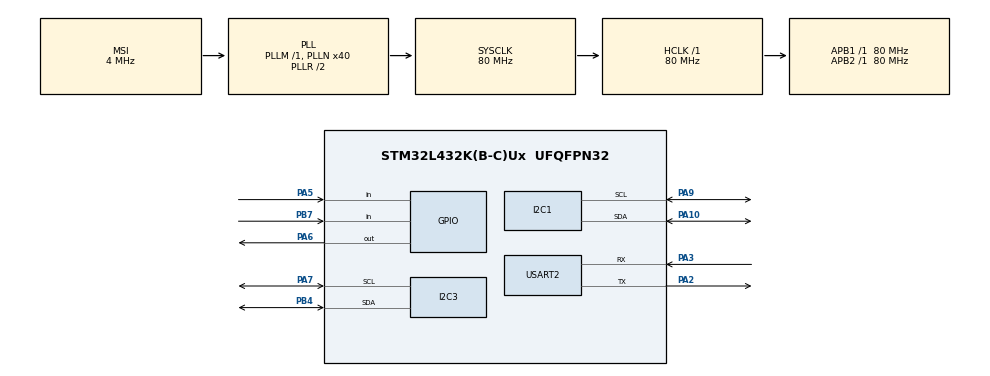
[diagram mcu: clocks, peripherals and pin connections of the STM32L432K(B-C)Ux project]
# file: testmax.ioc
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I2C1.Timing=0x10909CEC
I2C3.Timing=0x10909CEC
Mcu.Family=STM32L4
Mcu.Name=STM32L432K(B-C)Ux
Mcu.Package=UFQFPN32
NVIC.PriorityGroup=NVIC_PRIORITYGROUP_4
PA10.Mode=I2C
PA10.Signal=I2C1_SDA
PA13\ (JTMS-SWDIO).Mode=Serial_Wire
PA13\ (JTMS-SWDIO).Signal=SYS_JTMS-SWDIO
PA14\ (JTCK-SWCLK).Mode=Serial_Wire
PA14\ (JTCK-SWCLK).Signal=SYS_JTCK-SWCLK
PA2.Mode=Asynchronous
PA2.Signal=USART2_TX
PA3.Mode=Asynchronous
PA3.Signal=USART2_RX
PA5.Signal=GPIO_Input
PA6.Signal=GPIO_Output
PA7.Mode=I2C
PA7.Signal=I2C3_SCL
PA9.Mode=I2C
PA9.Signal=I2C1_SCL
PB4\ (NJTRST).Mode=I2C
PB4\ (NJTRST).Signal=I2C3_SDA
PB7.Signal=GPIO_Input
PC14-OSC32_IN\ (PC14).Mode=LSE-External-Oscillator
PC14-OSC32_IN\ (PC14).Signal=RCC_OSC32_IN
PC15-OSC32_OUT\ (PC15).Mode=LSE-External-Oscillator
PC15-OSC32_OUT\ (PC15).Signal=RCC_OSC32_OUT
ProjectManager.HeapSize=0x200
ProjectManager.StackSize=0x400
ProjectManager.TargetToolchain=MDK-ARM V5
RCC.AHBFreq_Value=80000000
RCC.APB1Freq_Value=80000000
RCC.APB1TimFreq_Value=80000000
RCC.APB2Freq_Value=80000000
RCC.APB2TimFreq_Value=80000000
RCC.CortexFreq_Value=80000000
RCC.HCLKFreq_Value=80000000
RCC.HSE_VALUE=8000000
RCC.HSI48_VALUE=48000000
RCC.HSI_VALUE=16000000
RCC.MSI_VALUE=4000000
RCC.PLLN=40
RCC.SYSCLKFreq_VALUE=80000000
RCC.SYSCLKSource=RCC_SYSCLKSOURCE_PLLCLK
RCC.VCOOutputFreq_Value=160000000
USART2.VirtualMode-Asynchronous=VM_ASYNC
board=custom

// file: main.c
/* USER CODE BEGIN Header */
/**
  ******************************************************************************
  * @file           : main.c
  * @brief          : Main program body
  ******************************************************************************
  * @attention
  *
  * <h2><center>&copy; Copyright (c) 2021 STMicroelectronics.
  * All rights reserved.</center></h2>
  *
  * This software component is licensed by ST under BSD 3-Clause license,
  * the "License"; You may not use this file except in compliance with the
  * License. You may obtain a copy of the License at:
  *                        opensource.org/licenses/BSD-3-Clause
  *
  ******************************************************************************
  */
/* USER CODE END Header */
#include "main.h"

/* USER CODE BEGIN Includes */
#include <stdlib.h>
#include <string.h>
#include <stdio.h>
#include "math.h"
#include "max30102.h"

int xyz  = 0;

/* USER CODE END Includes */

I2C_HandleTypeDef hi2c1;
I2C_HandleTypeDef hi2c3;

UART_HandleTypeDef huart2;

void SystemClock_Config(void);
static void MX_GPIO_Init(void);
static void MX_I2C1_Init(void);
static void MX_USART2_UART_Init(void);
static void MX_I2C3_Init(void);

/* USER CODE BEGIN 0 */
uint8_t fff[] = {'0','0','0'}; //array for heartrate
uint8_t a2f;
uint8_t status_reg[2], ctrl_reg[2];

uint8_t nl[] = {'\r', '\n', '\r'};
char hrt[12];

void displayuart()
{
	HAL_UART_Transmit(&huart2, (uint8_t *)hrt, 12, 1000);
	HAL_UART_Transmit(&huart2, fff, sizeof(fff), 1000);
	HAL_UART_Transmit(&huart2, nl, 3, 1000);
}

/* USER CODE END 0 */

int main(void)
{

  /* MCU Configuration--------------------------------------------------------*/

  /* Reset of all peripherals, Initializes the Flash interface and the Systick. */
  HAL_Init();

  /* Configure the system clock */
  SystemClock_Config();

  /* Initialize all configured peripherals */
  MX_GPIO_Init();
  MX_I2C1_Init();
  MX_USART2_UART_Init();
  MX_I2C3_Init();
  /* USER CODE BEGIN 2 */
	HAL_GPIO_WritePin(GPIOA, GPIO_PIN_6, GPIO_PIN_RESET);
  initialize();
  uint8_t secbuffer[2], minbuffer[2], hourbuffer[2], daybuffer[2], datebuffer[2];
  uint8_t h1,h2,m1,m2,s1,s2;
  char uartBuf [100] = {0};
  uint8_t alarm_minbuffer[2], alarm_hourbuffer[2], alarm_daybuffer[2], alarm_datebuffer[2];
  int count = 1;
  // seconds
  secbuffer[0] = 0x00; //register address
  secbuffer[1] = 0x00; //data to put in register --> 0 sec
  HAL_I2C_Master_Transmit(&hi2c3, 0xD0, secbuffer, 2, 10);
  // minutes
  minbuffer[0] = 0x01; //register address
  minbuffer[1] = 0x40; //data to put in register --> 15 min
  HAL_I2C_Master_Transmit(&hi2c3, 0xD0, minbuffer, 2, 10);

  // hours
  hourbuffer[0] = 0x02; //register address
  hourbuffer[1] = 0x11; //data to put in register 01001001 --> 7 am
  HAL_I2C_Master_Transmit(&hi2c3, 0xD0, hourbuffer, 2, 10);

  daybuffer[0] = 0x03;
	daybuffer[0] = 0x00;
	HAL_I2C_Master_Transmit(&hi2c3, 0xD0, daybuffer, 2, 10);

	datebuffer[0] = 0x04;
	datebuffer[0] = 0x00;
	HAL_I2C_Master_Transmit(&hi2c3, 0xD0, datebuffer, 2, 10);

	status_reg[0] = 0x0F;
	status_reg[1] = 0x88;
	HAL_I2C_Master_Transmit(&hi2c3, 0xD0, status_reg, 2, 10);
// control register
	ctrl_reg[0] = 0x0E;
	ctrl_reg[1] = 0x1E;
	HAL_I2C_Master_Transmit(&hi2c3, 0xD0, ctrl_reg, 2, 10);
// minutes
	alarm_minbuffer[0] = 0x0B;
	alarm_minbuffer[1] = 0x41;
	//alarm_minbuffer[1] += count;
	HAL_I2C_Master_Transmit(&hi2c3, 0xD0, alarm_minbuffer, 2, 10);
// hours
	alarm_hourbuffer[0] = 0x0C;
	alarm_hourbuffer[1] = 0x11;
	HAL_I2C_Master_Transmit(&hi2c3, 0xD0, alarm_hourbuffer, 2, 10);

	alarm_daybuffer[0] = 0x0D;
	alarm_daybuffer[1] = 0xC0;
	HAL_I2C_Master_Transmit(&hi2c3, 0xD0, alarm_daybuffer, 2, 10);

	alarm_datebuffer[0] = 0x0D;
	alarm_datebuffer[1] = 0x80;
	HAL_I2C_Master_Transmit(&hi2c3, 0xD0, alarm_datebuffer, 2, 10);

	int flag =0;

	uint8_t sos[] = {'S', 'O', 'S', '\n', '\r'};
	//uint8_t no[] = {'N', 'O', '\n', '\r'};
  /* USER CODE END 2 */

  /* Infinite loop */
  while (1)
  {

    /* USER CODE BEGIN 3 */
	  int count =1;
	  //int count2 =0;
		//HAL_GPIO_WritePin(GPIOA, GPIO_PIN_6, GPIO_PIN_RESET);

		if ((HAL_GPIO_ReadPin(GPIOB, GPIO_PIN_7) == 0) )
			{
				HAL_GPIO_WritePin(GPIOA, GPIO_PIN_6, GPIO_PIN_SET);
				//HAL_UART_Transmit(&huart2, no, 5, 100);
			}
		else
			{
				HAL_GPIO_WritePin(GPIOA, GPIO_PIN_6, GPIO_PIN_RESET);
				HAL_UART_Transmit(&huart2, sos, 4, 100);
			}
    if (flag ==0)
    {
      HAL_UART_Transmit(&huart2, (uint8_t *)uartBuf, sizeof(uartBuf), 10);
      flag =1;
    }

    HAL_I2C_Master_Transmit(&hi2c3, 0xD0, secbuffer, 1, 10);
    //read data of register 00h to secbuffer[1]
    HAL_I2C_Master_Receive(&hi2c3, 0xD1, secbuffer+1, 1, 10);
    //prepare UART output
    s1 = secbuffer[1] >> 4;
    s2 = secbuffer[1] & 0x0F;
    HAL_I2C_Master_Transmit(&hi2c3, 0xD0, minbuffer, 1, 10);
    HAL_I2C_Master_Receive(&hi2c3, 0xD1, minbuffer+1, 1, 10);
    m1 = minbuffer[1] >> 4;
    m2 = minbuffer[1] & 0x0F;
    HAL_I2C_Master_Transmit(&hi2c3, 0xD0, hourbuffer, 1, 10);
    HAL_I2C_Master_Receive(&hi2c3, 0xD1, hourbuffer+1, 1, 10);
    h1 = (hourbuffer[1] >> 4) & 1;
    h2 = hourbuffer[1] & 0x0F;

    // transmit time to UART
    sprintf(uartBuf, "%d%d:%d%d:%d%d\r\n",h1,h2,m1,m2,s1,s2);
    HAL_UART_Transmit(&huart2, (uint8_t *)uartBuf, sizeof(uartBuf), 10);
  //	HAL_UART_Transmit(&huart2, (uint8_t *)hrt, 12, 1000);
  //	HAL_UART_Transmit(&huart2, fff, sizeof(fff), 1000);
  //	HAL_UART_Transmit(&huart2, nl, 3, 1000);

      HAL_I2C_Master_Transmit(&hi2c3, 0xD0, &status_reg[0], 1, 10);
      HAL_I2C_Master_Receive(&hi2c3, 0xD1, &a2f, 1, 10);

      if (a2f & 0x02)
      {
        char myuartBuf [100] = {0};
        alarm_minbuffer[1] += count;
        HAL_I2C_Master_Transmit(&hi2c3, 0xD0, alarm_minbuffer, 2, 10);
        sprintf(myuartBuf, "Medication Reminder:%d%d:%d%d:%d%d\r\n",h1,h2,m1,m2,s1,s2);
        HAL_UART_Transmit(&huart2, (uint8_t *)myuartBuf, sizeof(myuartBuf), 10);

        HAL_I2C_Master_Transmit(&hi2c3, 0xD0, status_reg, 2, 10);

        xyz = read_sequential();
        fff[0] = xyz<100?0:xyz / 100 + 48;
        fff[1] = xyz<10?0:(xyz / 10) % 10 + 48;
        fff[2] = xyz % 10 + 48;
        sprintf(hrt, "Heart rate: ");
        displayuart();

	  	}

	  HAL_Delay(1000);

  }
  /* USER CODE END 3 */
}

void SystemClock_Config(void)
{
  RCC_OscInitTypeDef RCC_OscInitStruct = {0};
  RCC_ClkInitTypeDef RCC_ClkInitStruct = {0};

  /** Configure the main internal regulator output voltage
  */
  if (HAL_PWREx_ControlVoltageScaling(PWR_REGULATOR_VOLTAGE_SCALE1) != HAL_OK)
  {
    Error_Handler();
  }
  /** Configure LSE Drive Capability
  */
  HAL_PWR_EnableBkUpAccess();
  __HAL_RCC_LSEDRIVE_CONFIG(RCC_LSEDRIVE_LOW);
  /** Initializes the RCC Oscillators according to the specified parameters
  * in the RCC_OscInitTypeDef structure.
  */
  RCC_OscInitStruct.OscillatorType = RCC_OSCILLATORTYPE_LSE|RCC_OSCILLATORTYPE_MSI;
  RCC_OscInitStruct.LSEState = RCC_LSE_ON;
  RCC_OscInitStruct.MSIState = RCC_MSI_ON;
  RCC_OscInitStruct.MSICalibrationValue = 0;
  RCC_OscInitStruct.MSIClockRange = RCC_MSIRANGE_6;
  RCC_OscInitStruct.PLL.PLLState = RCC_PLL_ON;
  RCC_OscInitStruct.PLL.PLLSource = RCC_PLLSOURCE_MSI;
  RCC_OscInitStruct.PLL.PLLM = 1;
  RCC_OscInitStruct.PLL.PLLN = 40;
  RCC_OscInitStruct.PLL.PLLP = RCC_PLLP_DIV7;
  RCC_OscInitStruct.PLL.PLLQ = RCC_PLLQ_DIV2;
  RCC_OscInitStruct.PLL.PLLR = RCC_PLLR_DIV2;
  if (HAL_RCC_OscConfig(&RCC_OscInitStruct) != HAL_OK)
  {
    Error_Handler();
  }
  /** Initializes the CPU, AHB and APB buses clocks
  */
  RCC_ClkInitStruct.ClockType = RCC_CLOCKTYPE_HCLK|RCC_CLOCKTYPE_SYSCLK
                              |RCC_CLOCKTYPE_PCLK1|RCC_CLOCKTYPE_PCLK2;
  RCC_ClkInitStruct.SYSCLKSource = RCC_SYSCLKSOURCE_PLLCLK;
  RCC_ClkInitStruct.AHBCLKDivider = RCC_SYSCLK_DIV1;
  RCC_ClkInitStruct.APB1CLKDivider = RCC_HCLK_DIV1;
  RCC_ClkInitStruct.APB2CLKDivider = RCC_HCLK_DIV1;

  if (HAL_RCC_ClockConfig(&RCC_ClkInitStruct, FLASH_LATENCY_4) != HAL_OK)
  {
    Error_Handler();
  }
  /** Enable MSI Auto calibration
  */
  HAL_RCCEx_EnableMSIPLLMode();
}

static void MX_I2C1_Init(void)
{

  hi2c1.Instance = I2C1;
  hi2c1.Init.Timing = 0x10909CEC;
  hi2c1.Init.OwnAddress1 = 0;
  hi2c1.Init.AddressingMode = I2C_ADDRESSINGMODE_7BIT;
  hi2c1.Init.DualAddressMode = I2C_DUALADDRESS_DISABLE;
  hi2c1.Init.OwnAddress2 = 0;
  hi2c1.Init.OwnAddress2Masks = I2C_OA2_NOMASK;
  hi2c1.Init.GeneralCallMode = I2C_GENERALCALL_DISABLE;
  hi2c1.Init.NoStretchMode = I2C_NOSTRETCH_DISABLE;
  if (HAL_I2C_Init(&hi2c1) != HAL_OK)
  {
    Error_Handler();
  }
  /** Configure Analogue filter
  */
  if (HAL_I2CEx_ConfigAnalogFilter(&hi2c1, I2C_ANALOGFILTER_ENABLE) != HAL_OK)
  {
    Error_Handler();
  }
  /** Configure Digital filter
  */
  if (HAL_I2CEx_ConfigDigitalFilter(&hi2c1, 0) != HAL_OK)
  {
    Error_Handler();
  }

}

static void MX_I2C3_Init(void)
{

  hi2c3.Instance = I2C3;
  hi2c3.Init.Timing = 0x10909CEC;
  hi2c3.Init.OwnAddress1 = 0;
  hi2c3.Init.AddressingMode = I2C_ADDRESSINGMODE_7BIT;
  hi2c3.Init.DualAddressMode = I2C_DUALADDRESS_DISABLE;
  hi2c3.Init.OwnAddress2 = 0;
  hi2c3.Init.OwnAddress2Masks = I2C_OA2_NOMASK;
  hi2c3.Init.GeneralCallMode = I2C_GENERALCALL_DISABLE;
  hi2c3.Init.NoStretchMode = I2C_NOSTRETCH_DISABLE;
  if (HAL_I2C_Init(&hi2c3) != HAL_OK)
  {
    Error_Handler();
  }
  /** Configure Analogue filter
  */
  if (HAL_I2CEx_ConfigAnalogFilter(&hi2c3, I2C_ANALOGFILTER_ENABLE) != HAL_OK)
  {
    Error_Handler();
  }
  /** Configure Digital filter
  */
  if (HAL_I2CEx_ConfigDigitalFilter(&hi2c3, 0) != HAL_OK)
  {
    Error_Handler();
  }

}

static void MX_USART2_UART_Init(void)
{

  huart2.Instance = USART2;
  huart2.Init.BaudRate = 115200;
  huart2.Init.WordLength = UART_WORDLENGTH_8B;
  huart2.Init.StopBits = UART_STOPBITS_1;
  huart2.Init.Parity = UART_PARITY_NONE;
  huart2.Init.Mode = UART_MODE_TX_RX;
  huart2.Init.HwFlowCtl = UART_HWCONTROL_NONE;
  huart2.Init.OverSampling = UART_OVERSAMPLING_16;
  huart2.Init.OneBitSampling = UART_ONE_BIT_SAMPLE_DISABLE;
  huart2.AdvancedInit.AdvFeatureInit = UART_ADVFEATURE_NO_INIT;
  if (HAL_UART_Init(&huart2) != HAL_OK)
  {
    Error_Handler();
  }

}

static void MX_GPIO_Init(void)
{
  GPIO_InitTypeDef GPIO_InitStruct = {0};

  /* GPIO Ports Clock Enable */
  __HAL_RCC_GPIOC_CLK_ENABLE();
  __HAL_RCC_GPIOA_CLK_ENABLE();
  __HAL_RCC_GPIOB_CLK_ENABLE();

  /*Configure GPIO pin Output Level */
  HAL_GPIO_WritePin(GPIOA, GPIO_PIN_6, GPIO_PIN_RESET);

  /*Configure GPIO pin : PA5 */
  GPIO_InitStruct.Pin = GPIO_PIN_5;
  GPIO_InitStruct.Mode = GPIO_MODE_INPUT;
  GPIO_InitStruct.Pull = GPIO_PULLUP;
  HAL_GPIO_Init(GPIOA, &GPIO_InitStruct);

  /*Configure GPIO pin : PA6 */
  GPIO_InitStruct.Pin = GPIO_PIN_6;
  GPIO_InitStruct.Mode = GPIO_MODE_OUTPUT_PP;
  GPIO_InitStruct.Pull = GPIO_PULLDOWN;
  GPIO_InitStruct.Speed = GPIO_SPEED_FREQ_LOW;
  HAL_GPIO_Init(GPIOA, &GPIO_InitStruct);

  /*Configure GPIO pin : PB7 */
  GPIO_InitStruct.Pin = GPIO_PIN_7;
  GPIO_InitStruct.Mode = GPIO_MODE_INPUT;
  GPIO_InitStruct.Pull = GPIO_PULLDOWN;
  HAL_GPIO_Init(GPIOB, &GPIO_InitStruct);

}

void Error_Handler(void)
{
  __disable_irq();
  while (1)
  {
  }
}

/************************ (C) COPYRIGHT STMicroelectronics *****END OF FILE****/
